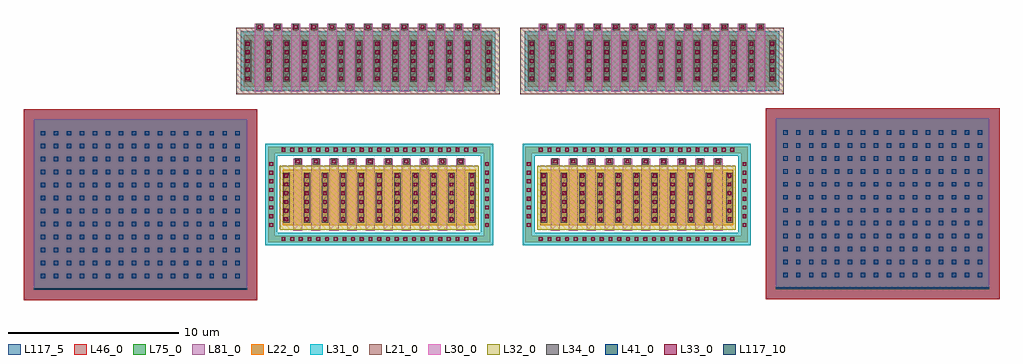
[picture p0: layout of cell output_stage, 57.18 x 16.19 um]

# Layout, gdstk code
import gdstk
lib = gdstk.Library(unit=1e-6, precision=5e-09)
def R(c, l, rs):  # rectangles x0, y0, x1, y1
    for r in rs: c.add(gdstk.rectangle(r[:2], r[2:], *l))
def A(c, l, x, y, w, h, nx, ny, dx, dy):  # array of equal rectangles
    R(c, l, [(x+i*dx, y+j*dy, x+i*dx+w, y+j*dy+h) for i in range(nx) for j in range(ny)])
def P(c, l, *ps):  # polygons
    for p in ps: c.add(gdstk.Polygon(p, *l))
L21_0 = (21, 0)
L22_0 = (22, 0)
L30_0 = (30, 0)
L31_0 = (31, 0)
L32_0 = (32, 0)
L33_0 = (33, 0)
L34_0 = (34, 0)
L41_0 = (41, 0)
L46_0 = (46, 0)
L75_0 = (75, 0)
L81_0 = (81, 0)
L117_5 = (117, 5)
L117_10 = (117, 10)

nfet = lib.new_cell('nfet')
R(nfet, L22_0, [(-0.42,0,0,3.26), (0,0,10.46,3.26), (10.46,0,10.88,3.26)])
P(nfet, L22_0, [(-1.28,-0.99),(-1.28,4.24),(-0.9,4.24),(-0.9,-0.61),(11.36,-0.61),(11.36,4.24),(-1.28,4.24),(-1.28,4.62),(11.74,4.62),(11.74,-0.99)])
A(nfet, L30_0, 0.19, -0.3, 0.54, 3.86, 10, 1, 1.06, 0)
A(nfet, L30_0, 0.19, 3.56, 0.54, 0.36, 10, 1, 1.06, 0)
P(nfet, L31_0, [(-1.45,-1.16),(-1.45,4.07),(-0.73,4.07),(-0.73,-0.44),(11.19,-0.44),(11.19,4.07),(-1.45,4.07),(-1.45,4.79),(11.91,4.79),(11.91,-1.16)])
R(nfet, L32_0, [(-0.59,-0.24,11.05,3.5)])
A(nfet, L33_0, -0.49, -0.91, 0.22, 0.22, 23, 2, 0.51, 5.23)
A(nfet, L33_0, -1.2, -0.08, 0.22, 0.22, 1, 8, 0, 0.51)
A(nfet, L33_0, 11.44, -0.08, 0.22, 0.22, 1, 8, 0, 0.51)
A(nfet, L33_0, -0.32, 0.245, 0.22, 0.22, 1, 6, 0, 0.51)
A(nfet, L33_0, 0.88, 0.245, 0.22, 0.22, 9, 6, 1.06, 0.51)
A(nfet, L33_0, 10.56, 0.245, 0.22, 0.22, 1, 6, 0, 0.51)
A(nfet, L33_0, 0.35, 3.63, 0.22, 0.22, 10, 1, 1.06, 0)
A(nfet, L34_0, 0.8, 0.165, 0.38, 2.93, 9, 1, 1.06, 0)
A(nfet, L34_0, 0.27, 3.55, 0.38, 0.38, 10, 1, 1.06, 0)
R(nfet, L34_0, [(-0.4,0.165,-0.02,3.095), (10.48,0.165,10.86,3.095)])

pfet = lib.new_cell('pfet')
R(pfet, L21_0, [(-0.9,-0.44,14.54,3.44)])
R(pfet, L22_0, [(-0.46,0,0,3), (0,0,13.64,3), (13.64,0,14.1,3)])
A(pfet, L30_0, 0.19, -0.3, 0.54, 3.6, 13, 1, 1.06, 0)
A(pfet, L30_0, 0.19, 3.3, 0.54, 0.38, 13, 1, 1.06, 0)
R(pfet, L31_0, [(-0.63,-0.24,14.27,3.24)])
A(pfet, L33_0, -0.34, 0.37, 0.22, 0.22, 1, 5, 0, 0.51)
A(pfet, L33_0, 0.88, 0.37, 0.22, 0.22, 12, 5, 1.06, 0.51)
A(pfet, L33_0, 13.76, 0.37, 0.22, 0.22, 1, 5, 0, 0.51)
A(pfet, L33_0, 0.35, 3.38, 0.22, 0.22, 13, 1, 1.06, 0)
A(pfet, L34_0, 0.8, 0.29, 0.38, 2.42, 12, 1, 1.06, 0)
A(pfet, L34_0, 0.27, 3.3, 0.38, 0.38, 13, 1, 1.06, 0)
R(pfet, L34_0, [(-0.42,0.29,-0.04,2.71), (13.68,0.29,14.06,2.71)])

cap_mim = lib.new_cell('cap_mim')
A(cap_mim, L41_0, 0.42, 0.69, 0.26, 0.26, 16, 12, 0.76, 0.76)
R(cap_mim, L46_0, [(-0.6,-0.6,13.1,10.6)])
R(cap_mim, L75_0, [(0,0,12.5,10)])
R(cap_mim, L81_0, [(0,0,12.5,10)])
R(cap_mim, L117_5, [(-0.6,-0.6,13.1,10.6)])
R(cap_mim, L117_10, [(0,0,12.5,0.1)])

output_stage = lib.new_cell('output_stage')
output_stage.add(gdstk.Reference(nfet, (3.13,1.16)))
output_stage.add(gdstk.Reference(pfet, (0.89,9.29)))
output_stage.add(gdstk.Reference(cap_mim, (31.6,-2.57)))
output_stage.add(gdstk.Reference(cap_mim, (-11.88,-2.62)))
output_stage.add(gdstk.Reference(nfet, (18.21,1.16)))
output_stage.add(gdstk.Reference(pfet, (17.52,9.29)))

lib.write_gds('output_stage.gds')
